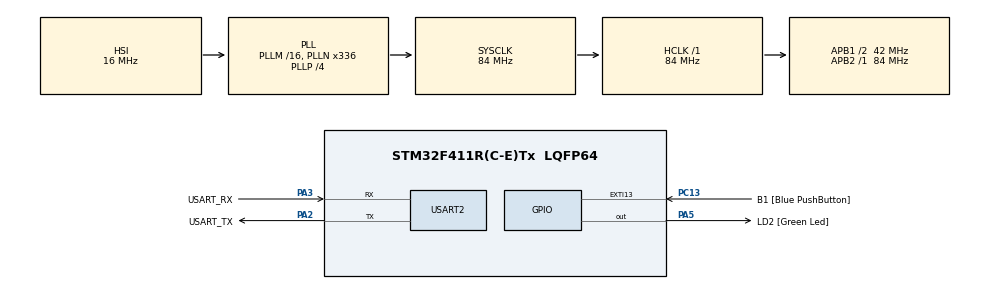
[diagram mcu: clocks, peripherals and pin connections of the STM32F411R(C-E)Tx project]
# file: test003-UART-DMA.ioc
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Dma.Request0=USART2_RX
Dma.USART2_RX.0.Direction=DMA_PERIPH_TO_MEMORY
Dma.USART2_RX.0.FIFOMode=DMA_FIFOMODE_DISABLE
Dma.USART2_RX.0.Instance=DMA1_Stream5
Dma.USART2_RX.0.MemDataAlignment=DMA_MDATAALIGN_BYTE
Dma.USART2_RX.0.MemInc=DMA_MINC_ENABLE
Dma.USART2_RX.0.Mode=DMA_CIRCULAR
Dma.USART2_RX.0.PeriphDataAlignment=DMA_PDATAALIGN_BYTE
Dma.USART2_RX.0.PeriphInc=DMA_PINC_DISABLE
Dma.USART2_RX.0.Priority=DMA_PRIORITY_LOW
Mcu.Family=STM32F4
Mcu.Name=STM32F411R(C-E)Tx
Mcu.Package=LQFP64
NVIC.DMA1_Stream5_IRQn=true\:0\:0\:false\:false\:true\:false\:true\:true
NVIC.PriorityGroup=NVIC_PRIORITYGROUP_0
PA13.GPIO_Label=TMS
PA13.Mode=Serial_Wire
PA13.Signal=SYS_JTMS-SWDIO
PA14.GPIO_Label=TCK
PA14.Mode=Serial_Wire
PA14.Signal=SYS_JTCK-SWCLK
PA2.GPIO_Label=USART_TX
PA2.Mode=Asynchronous
PA2.Signal=USART2_TX
PA3.GPIO_Label=USART_RX
PA3.Mode=Asynchronous
PA3.Signal=USART2_RX
PA5.GPIO_Label=LD2 [Green Led]
PA5.Signal=GPIO_Output
PB3.GPIO_Label=SWO
PB3.Signal=SYS_JTDO-SWO
PC13-ANTI_TAMP.GPIO_Label=B1 [Blue PushButton]
PC13-ANTI_TAMP.GPIO_ModeDefaultEXTI=GPIO_MODE_IT_FALLING
PC13-ANTI_TAMP.Signal=GPXTI13
PC14-OSC32_IN.Mode=LSE-External-Oscillator
PC14-OSC32_IN.Signal=RCC_OSC32_IN
PC15-OSC32_OUT.Mode=LSE-External-Oscillator
PC15-OSC32_OUT.Signal=RCC_OSC32_OUT
PH0\ -\ OSC_IN.Mode=HSE-External-Clock-Source
PH0\ -\ OSC_IN.Signal=RCC_OSC_IN
PH1\ -\ OSC_OUT.Mode=HSE-External-Clock-Source
PH1\ -\ OSC_OUT.Signal=RCC_OSC_OUT
ProjectManager.HeapSize=0x200
ProjectManager.StackSize=0x400
ProjectManager.TargetToolchain=STM32CubeIDE
RCC.48MHZClocksFreq_Value=84000000
RCC.AHBFreq_Value=84000000
RCC.APB1CLKDivider=RCC_HCLK_DIV2
RCC.APB1Freq_Value=42000000
RCC.APB1TimFreq_Value=84000000
RCC.APB2Freq_Value=84000000
RCC.APB2TimFreq_Value=84000000
RCC.CortexFreq_Value=84000000
RCC.FLatency-AdvancedSettings=FLASH_LATENCY_2
RCC.HCLKFreq_Value=84000000
RCC.HSE_VALUE=8000000
RCC.HSI_VALUE=16000000
RCC.PLLN=336
RCC.PLLP=RCC_PLLP_DIV4
RCC.SYSCLKFreq_VALUE=84000000
RCC.SYSCLKSource=RCC_SYSCLKSOURCE_PLLCLK
RCC.VCOOutputFreq_Value=336000000
USART2.VirtualMode=VM_ASYNC
board=NUCLEO-F411RE

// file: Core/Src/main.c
/* USER CODE BEGIN Header */
/**
  ******************************************************************************
  * @file           : main.c
  * @brief          : Main program body
  ******************************************************************************
  * @attention
  *
  * Copyright (c) 2024 STMicroelectronics.
  * All rights reserved.
  *
  * This software is licensed under terms that can be found in the LICENSE file
  * in the root directory of this software component.
  * If no LICENSE file comes with this software, it is provided AS-IS.
  *
  ******************************************************************************
  */
/* USER CODE END Header */
#include "main.h"

UART_HandleTypeDef huart2;
DMA_HandleTypeDef hdma_usart2_rx;

void SystemClock_Config(void);
static void MX_GPIO_Init(void);
static void MX_DMA_Init(void);
static void MX_USART2_UART_Init(void);

int main(void)
{

  /* MCU Configuration--------------------------------------------------------*/

  /* Reset of all peripherals, Initializes the Flash interface and the Systick. */
  HAL_Init();

  /* USER CODE BEGIN Init */
#define MAX_BUF 100
  char Buf[MAX_BUF];
  int head = 0, tail = 0;
  int GetBuffer(char *bb)
  {
	  int ret = 0;
	  tail = MAX_BUF - huart2.hdmarx->Instance->NDTR;
	  if(head == tail) return 0;
	  if(head < tail) // 순방향
	  {
		 memcpy(bb, Buf + head, tail - head);
		 ret = tail - head;
	  }
	  else // (tail < head) 역방향
	  {
		 memcpy(bb, Buf + head, MAX_BUF - head);
		 memcpy(bb + MAX_BUF - head, Buf, tail);
		 ret = MAX_BUF - head + tail;
	  }
	  head = tail;
	  bb[ret] = 0; //*(bb + ret) = 0;
	  return ret;
  }
  /* USER CODE END Init */

  /* Configure the system clock */
  SystemClock_Config();

  /* Initialize all configured peripherals */
  MX_GPIO_Init();
  MX_DMA_Init();
  MX_USART2_UART_Init();
  /* USER CODE BEGIN 2 */
  ProgramStart("UART - DMA");

  HAL_UART_Receive_DMA(&huart2, Buf, 100);

  /* USER CODE END 2 */

  /* Infinite loop */
  /* USER CODE BEGIN WHILE */
  char bb[100];
  while (1)
  {
	  if(GetBuffer(bb) > 0);
	  printf("Received Data : %s\r\n", bb);
	  HAL_Delay(1000);
    /* USER CODE END WHILE */

  }
}

void SystemClock_Config(void)
{
  RCC_OscInitTypeDef RCC_OscInitStruct = {0};
  RCC_ClkInitTypeDef RCC_ClkInitStruct = {0};

  /** Configure the main internal regulator output voltage
  */
  __HAL_RCC_PWR_CLK_ENABLE();
  __HAL_PWR_VOLTAGESCALING_CONFIG(PWR_REGULATOR_VOLTAGE_SCALE1);

  /** Initializes the RCC Oscillators according to the specified parameters
  * in the RCC_OscInitTypeDef structure.
  */
  RCC_OscInitStruct.OscillatorType = RCC_OSCILLATORTYPE_HSI;
  RCC_OscInitStruct.HSIState = RCC_HSI_ON;
  RCC_OscInitStruct.HSICalibrationValue = RCC_HSICALIBRATION_DEFAULT;
  RCC_OscInitStruct.PLL.PLLState = RCC_PLL_ON;
  RCC_OscInitStruct.PLL.PLLSource = RCC_PLLSOURCE_HSI;
  RCC_OscInitStruct.PLL.PLLM = 16;
  RCC_OscInitStruct.PLL.PLLN = 336;
  RCC_OscInitStruct.PLL.PLLP = RCC_PLLP_DIV4;
  RCC_OscInitStruct.PLL.PLLQ = 4;
  if (HAL_RCC_OscConfig(&RCC_OscInitStruct) != HAL_OK)
  {
    Error_Handler();
  }

  /** Initializes the CPU, AHB and APB buses clocks
  */
  RCC_ClkInitStruct.ClockType = RCC_CLOCKTYPE_HCLK|RCC_CLOCKTYPE_SYSCLK
                              |RCC_CLOCKTYPE_PCLK1|RCC_CLOCKTYPE_PCLK2;
  RCC_ClkInitStruct.SYSCLKSource = RCC_SYSCLKSOURCE_PLLCLK;
  RCC_ClkInitStruct.AHBCLKDivider = RCC_SYSCLK_DIV1;
  RCC_ClkInitStruct.APB1CLKDivider = RCC_HCLK_DIV2;
  RCC_ClkInitStruct.APB2CLKDivider = RCC_HCLK_DIV1;

  if (HAL_RCC_ClockConfig(&RCC_ClkInitStruct, FLASH_LATENCY_2) != HAL_OK)
  {
    Error_Handler();
  }
}

static void MX_USART2_UART_Init(void)
{

  huart2.Instance = USART2;
  huart2.Init.BaudRate = 115200;
  huart2.Init.WordLength = UART_WORDLENGTH_8B;
  huart2.Init.StopBits = UART_STOPBITS_1;
  huart2.Init.Parity = UART_PARITY_NONE;
  huart2.Init.Mode = UART_MODE_TX_RX;
  huart2.Init.HwFlowCtl = UART_HWCONTROL_NONE;
  huart2.Init.OverSampling = UART_OVERSAMPLING_16;
  if (HAL_UART_Init(&huart2) != HAL_OK)
  {
    Error_Handler();
  }

}

static void MX_DMA_Init(void)
{

  /* DMA controller clock enable */
  __HAL_RCC_DMA1_CLK_ENABLE();

  /* DMA interrupt init */
  /* DMA1_Stream5_IRQn interrupt configuration */
  HAL_NVIC_SetPriority(DMA1_Stream5_IRQn, 0, 0);
  HAL_NVIC_EnableIRQ(DMA1_Stream5_IRQn);

}

static void MX_GPIO_Init(void)
{
  GPIO_InitTypeDef GPIO_InitStruct = {0};

  /* GPIO Ports Clock Enable */
  __HAL_RCC_GPIOC_CLK_ENABLE();
  __HAL_RCC_GPIOH_CLK_ENABLE();
  __HAL_RCC_GPIOA_CLK_ENABLE();
  __HAL_RCC_GPIOB_CLK_ENABLE();

  /*Configure GPIO pin Output Level */
  HAL_GPIO_WritePin(LD2_GPIO_Port, LD2_Pin, GPIO_PIN_RESET);

  /*Configure GPIO pin : B1_Pin */
  GPIO_InitStruct.Pin = B1_Pin;
  GPIO_InitStruct.Mode = GPIO_MODE_IT_FALLING;
  GPIO_InitStruct.Pull = GPIO_NOPULL;
  HAL_GPIO_Init(B1_GPIO_Port, &GPIO_InitStruct);

  /*Configure GPIO pin : LD2_Pin */
  GPIO_InitStruct.Pin = LD2_Pin;
  GPIO_InitStruct.Mode = GPIO_MODE_OUTPUT_PP;
  GPIO_InitStruct.Pull = GPIO_NOPULL;
  GPIO_InitStruct.Speed = GPIO_SPEED_FREQ_LOW;
  HAL_GPIO_Init(LD2_GPIO_Port, &GPIO_InitStruct);

}

void Error_Handler(void)
{
  __disable_irq();
  while (1)
  {
  }
}
